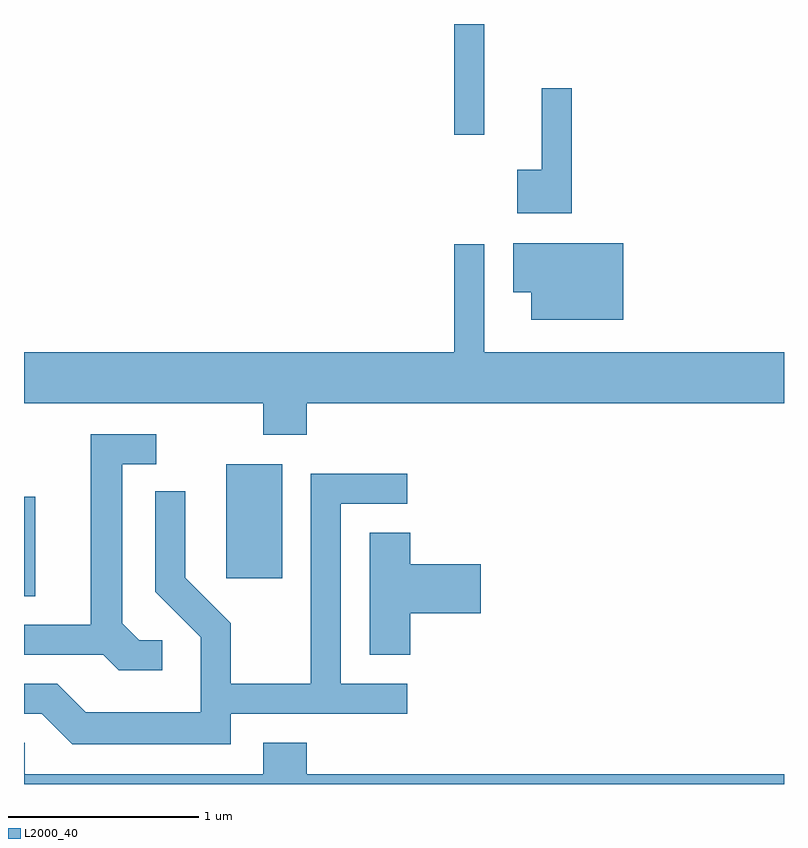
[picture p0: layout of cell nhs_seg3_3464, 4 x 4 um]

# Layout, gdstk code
import gdstk
lib = gdstk.Library(unit=1e-6, precision=1e-09)
def R(c, l, rs):  # rectangles x0, y0, x1, y1
    for r in rs: c.add(gdstk.rectangle(r[:2], r[2:], *l))
def P(c, l, *ps):  # polygons
    for p in ps: c.add(gdstk.Polygon(p, *l))
L2000_40 = (2000, 40)

nhs_seg3_3464 = lib.new_cell('nhs_seg3_3464')
R(nhs_seg3_3464, L2000_40, [(285.611,1244.881,285.669,1245.404), (286.676,1244.976,286.969,1245.574), (287.876,1247.308,288.034,1247.892)])
P(nhs_seg3_3464, L2000_40, [(288.494,1247.553),(288.336,1247.553),(288.336,1247.124),(288.206,1247.124),(288.206,1246.896),(288.494,1246.896)],
  [(288.764,1246.739),(288.186,1246.739),(288.186,1246.481),(288.281,1246.481),(288.281,1246.336),(288.764,1246.336)],
  [(287.099,1245.896),(289.611,1245.896),(289.611,1246.164),(288.034,1246.164),(288.034,1246.733),(287.876,1246.733),(287.876,1246.164),(285.611,1246.164),(285.611,1245.896),(286.871,1245.896),(286.871,1245.731),(287.099,1245.731)],
  [(286.338,1244.649),(286.217,1244.649),(286.129,1244.737),(286.129,1245.576),(286.308,1245.576),(286.308,1245.734),(285.961,1245.734),(285.961,1244.729),(285.611,1244.729),(285.611,1244.571),(286.029,1244.571),(286.109,1244.491),(286.338,1244.491)],
  [(286.699,1244.261),(287.628,1244.261),(287.628,1244.419),(287.279,1244.419),(287.279,1245.366),(287.628,1245.366),(287.628,1245.524),(287.121,1245.524),(287.121,1244.419),(286.699,1244.419),(286.699,1244.737),(286.459,1244.977),(286.459,1245.433),(286.301,1245.433),(286.301,1244.904),(286.541,1244.664),(286.541,1244.269),(285.937,1244.269),(285.787,1244.419),(285.611,1244.419),(285.611,1244.261),(285.704,1244.261),(285.864,1244.101),(286.699,1244.101)],
  [(287.644,1244.791),(288.014,1244.791),(288.014,1245.049),(287.644,1245.049),(287.644,1245.214),(287.431,1245.214),(287.431,1244.571),(287.644,1244.571)],
  [(289.611,1243.944),(287.099,1243.944),(287.099,1244.109),(286.871,1244.109),(286.871,1243.944),(285.614,1243.944),(285.614,1244.109),(285.611,1244.109),(285.611,1243.892),(289.611,1243.892)])

lib.write_gds('nhs_seg3_3464.gds')
